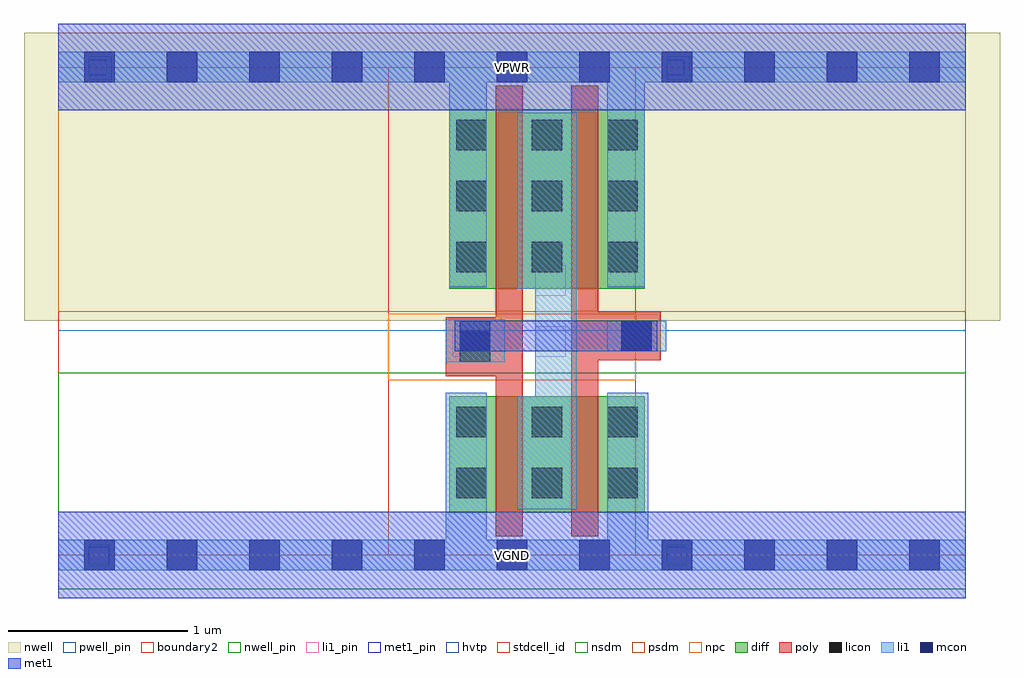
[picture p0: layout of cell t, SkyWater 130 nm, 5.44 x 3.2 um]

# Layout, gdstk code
import gdstk
lib = gdstk.Library(unit=1e-6, precision=1e-09)
def R(c, l, rs):  # rectangles x0, y0, x1, y1
    for r in rs: c.add(gdstk.rectangle(r[:2], r[2:], *l))
def A(c, l, x, y, w, h, nx, ny, dx, dy):  # array of equal rectangles
    R(c, l, [(x+i*dx, y+j*dy, x+i*dx+w, y+j*dy+h) for i in range(nx) for j in range(ny)])
nwell_pin = (64, 16)
nwell = (64, 20)
diff = (65, 20)
poly = (66, 20)
licon = (66, 44)
li1_pin = (67, 16)
li1 = (67, 20)
mcon = (67, 44)
met1_pin = (68, 16)
met1 = (68, 20)
hvtp = (78, 44)
stdcell_id = (81, 4)
nsdm = (93, 44)
psdm = (94, 20)
npc = (95, 20)
pwell_pin = (122, 16)
boundary2 = (236, 0)

c_t = lib.new_cell('t')
R(c_t, nwell_pin, [(1.985,2.635,2.155,2.805), (1.985,2.635,2.155,2.805), (0.175,2.65,0.3,2.78), (3.395,2.65,3.52,2.78)])
R(c_t, nwell, [(-0.19,1.305,2.03,2.91), (1.65,1.305,3.45,2.91), (3.03,1.305,5.25,2.91)])
R(c_t, diff, [(2.18,0.235,3.27,0.885), (2.18,1.485,3.27,2.485)])
R(c_t, poly, [(2.44,0.105,2.59,2.615), (2.86,0.105,3.01,1.015), (2.16,0.995,2.44,1.325), (2.86,1.015,3.01,1.085), (2.86,1.085,3.36,1.355), (2.86,1.355,3.01,2.615)])
A(c_t, licon, 2.22, 0.315, 0.17, 0.17, 3, 2, 0.42, 0.34)
A(c_t, licon, 2.22, 1.575, 0.17, 0.17, 3, 3, 0.42, 0.34)
R(c_t, licon, [(2.24,1.075,2.41,1.245), (3.14,1.135,3.31,1.305)])
R(c_t, li1_pin, [(2.2,1.105,2.37,1.275), (2.66,1.105,2.83,1.275), (2.66,1.445,2.83,1.615)])
R(c_t, li1, [(0,-0.085,1.84,0.085), (1.84,-0.085,3.22,0.085), (3.22,-0.085,5.06,0.085), (2.16,0.005,2.39,0.905), (3.06,0.005,3.29,0.905), (2.56,0.255,2.66,0.885), (2.66,0.255,2.89,2.465), (2.16,1.075,2.49,1.315), (3.06,1.135,3.39,1.305), (2.56,1.485,2.66,2.465), (2.18,1.495,2.39,2.675), (3.06,1.495,3.27,2.675), (0,2.635,1.84,2.805), (1.84,2.635,3.22,2.805), (3.22,2.635,5.06,2.805)])
A(c_t, mcon, 0.145, -0.085, 0.17, 0.17, 11, 2, 0.46, 2.72)
R(c_t, mcon, [(2.24,1.135,2.41,1.305), (3.14,1.135,3.31,1.305)])
R(c_t, met1_pin, [(1.985,-0.085,2.155,0.085), (1.985,-0.085,2.155,0.085), (0.17,-0.05,0.285,0.045), (3.39,-0.05,3.505,0.045), (1.985,2.635,2.155,2.805), (1.985,2.635,2.155,2.805), (0.17,2.675,0.27,2.76), (3.39,2.675,3.49,2.76)])
R(c_t, met1, [(0,-0.24,1.84,0.24), (1.84,-0.24,3.22,0.24), (3.22,-0.24,5.06,0.24), (2.21,1.135,3.34,1.305), (0,2.48,1.84,2.96), (1.84,2.48,3.22,2.96), (3.22,2.48,5.06,2.96)])
R(c_t, hvtp, [(0,1.25,1.84,2.72), (1.84,1.25,3.22,2.72), (3.22,1.25,5.06,2.72)])
R(c_t, stdcell_id, [(0,0,1.84,2.72), (1.84,0,3.22,2.72), (3.22,0,5.06,2.72)])
R(c_t, nsdm, [(0,-0.19,1.84,1.015), (1.84,-0.19,3.395,1.015), (3.22,-0.19,5.06,1.015)])
R(c_t, psdm, [(0,1.355,1.84,2.91), (1.84,1.355,3.395,2.91), (3.22,1.355,5.06,2.91)])
R(c_t, npc, [(1.84,0.975,3.22,1.345)])
R(c_t, pwell_pin, [(1.985,-0.085,2.155,0.085), (1.985,-0.085,2.155,0.085), (0.175,-0.06,0.285,0.06), (3.395,-0.06,3.505,0.06)])
R(c_t, boundary2, [(1.84,0,3.22,2.72)])
c_t.add(gdstk.Label('VPWR', (2.53,2.72), layer=67, texttype=20))
c_t.add(gdstk.Label('VGND', (2.53,0), layer=67, texttype=20))

lib.write_gds('t.gds')
